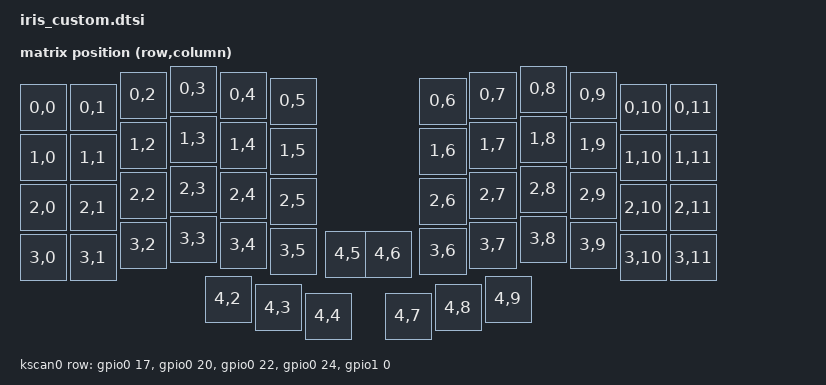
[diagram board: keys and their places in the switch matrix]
#include <dt-bindings/zmk/matrix_transform.h>
#include <physical_layouts.dtsi>

/ {
    chosen {
        zmk,kscan = &kscan0;
        zmk,physical-layout = &iris_layout;
    };

    default_transform: keymap_transform_0 {
        compatible = "zmk,matrix-transform";
        columns = <16>;
        rows = <5>;
        map = <
RC(0,0) RC(0,1) RC(0,2) RC(0,3) RC(0,4) RC(0,5)                 RC(0,6) RC(0,7) RC(0,8) RC(0,9) RC(0,10) RC(0,11)
RC(1,0) RC(1,1) RC(1,2) RC(1,3) RC(1,4) RC(1,5)                 RC(1,6) RC(1,7) RC(1,8) RC(1,9) RC(1,10) RC(1,11)
RC(2,0) RC(2,1) RC(2,2) RC(2,3) RC(2,4) RC(2,5)                 RC(2,6) RC(2,7) RC(2,8) RC(2,9) RC(2,10) RC(2,11)
RC(3,0) RC(3,1) RC(3,2) RC(3,3) RC(3,4) RC(3,5) RC(4,5) RC(4,6) RC(3,6) RC(3,7) RC(3,8) RC(3,9) RC(3,10) RC(3,11)
                                RC(4,2) RC(4,3) RC(4,4) RC(4,7) RC(4,8) RC(4,9)
        >;
    };

    iris_layout: iris_layout {
        compatible = "zmk,physical-layout";
        display-name = "Iris Custom";
        transform = <&default_transform>;

        keys  //                     w   h    x    y   rot  rx  ry
            = <&key_physical_attrs 100 100    0   37    0   0   0>
            , <&key_physical_attrs 100 100  100   37    0   0   0>
            , <&key_physical_attrs 100 100  200   12    0   0   0>
            , <&key_physical_attrs 100 100  300    0    0   0   0>
            , <&key_physical_attrs 100 100  400   12    0   0   0>
            , <&key_physical_attrs 100 100  500   24    0   0   0>
            , <&key_physical_attrs 100 100  800   24    0   0   0>
            , <&key_physical_attrs 100 100  900   12    0   0   0>
            , <&key_physical_attrs 100 100 1000    0    0   0   0>
            , <&key_physical_attrs 100 100 1100   12    0   0   0>
            , <&key_physical_attrs 100 100 1200   37    0   0   0>
            , <&key_physical_attrs 100 100 1300   37    0   0   0>
            , <&key_physical_attrs 100 100    0  137    0   0   0>
            , <&key_physical_attrs 100 100  100  137    0   0   0>
            , <&key_physical_attrs 100 100  200  112    0   0   0>
            , <&key_physical_attrs 100 100  300  100    0   0   0>
            , <&key_physical_attrs 100 100  400  112    0   0   0>
            , <&key_physical_attrs 100 100  500  124    0   0   0>
            , <&key_physical_attrs 100 100  800  124    0   0   0>
            , <&key_physical_attrs 100 100  900  112    0   0   0>
            , <&key_physical_attrs 100 100 1000  100    0   0   0>
            , <&key_physical_attrs 100 100 1100  112    0   0   0>
            , <&key_physical_attrs 100 100 1200  137    0   0   0>
            , <&key_physical_attrs 100 100 1300  137    0   0   0>
            , <&key_physical_attrs 100 100    0  237    0   0   0>
            , <&key_physical_attrs 100 100  100  237    0   0   0>
            , <&key_physical_attrs 100 100  200  212    0   0   0>
            , <&key_physical_attrs 100 100  300  200    0   0   0>
            , <&key_physical_attrs 100 100  400  212    0   0   0>
            , <&key_physical_attrs 100 100  500  224    0   0   0>
            , <&key_physical_attrs 100 100  800  224    0   0   0>
            , <&key_physical_attrs 100 100  900  212    0   0   0>
            , <&key_physical_attrs 100 100 1000  200    0   0   0>
            , <&key_physical_attrs 100 100 1100  212    0   0   0>
            , <&key_physical_attrs 100 100 1200  237    0   0   0>
            , <&key_physical_attrs 100 100 1300  237    0   0   0>
            , <&key_physical_attrs 100 100    0  337    0   0   0>
            , <&key_physical_attrs 100 100  100  337    0   0   0>
            , <&key_physical_attrs 100 100  200  312    0   0   0>
            , <&key_physical_attrs 100 100  300  300    0   0   0>
            , <&key_physical_attrs 100 100  400  312    0   0   0>
            , <&key_physical_attrs 100 100  500  324    0   0   0>
            , <&key_physical_attrs 100 100  610  330    0   0   0>
            , <&key_physical_attrs 100 100  690  330    0   0   0>
            , <&key_physical_attrs 100 100  800  324    0   0   0>
            , <&key_physical_attrs 100 100  900  312    0   0   0>
            , <&key_physical_attrs 100 100 1000  300    0   0   0>
            , <&key_physical_attrs 100 100 1100  312    0   0   0>
            , <&key_physical_attrs 100 100 1200  337    0   0   0>
            , <&key_physical_attrs 100 100 1300  337    0   0   0>
            , <&key_physical_attrs 100 100  370  420    0   0   0>
            , <&key_physical_attrs 100 100  470  437    0   0   0>
            , <&key_physical_attrs 100 100  570  454    0   0   0>
            , <&key_physical_attrs 100 100  730  454    0   0   0>
            , <&key_physical_attrs 100 100  830  437    0   0   0>
            , <&key_physical_attrs 100 100  930  420    0   0   0>
            ;
    };

    kscan0: kscan {
        compatible = "zmk,kscan-gpio-matrix";
        wakeup-source;

        diode-direction = "col2row";
        row-gpios
            = <&gpio0 17 (GPIO_ACTIVE_HIGH | GPIO_PULL_DOWN)>
            , <&gpio0 20 (GPIO_ACTIVE_HIGH | GPIO_PULL_DOWN)>
            , <&gpio0 22 (GPIO_ACTIVE_HIGH | GPIO_PULL_DOWN)>
            , <&gpio0 24 (GPIO_ACTIVE_HIGH | GPIO_PULL_DOWN)>
            , <&gpio1 0 (GPIO_ACTIVE_HIGH | GPIO_PULL_DOWN)>
            ;

    };
};
